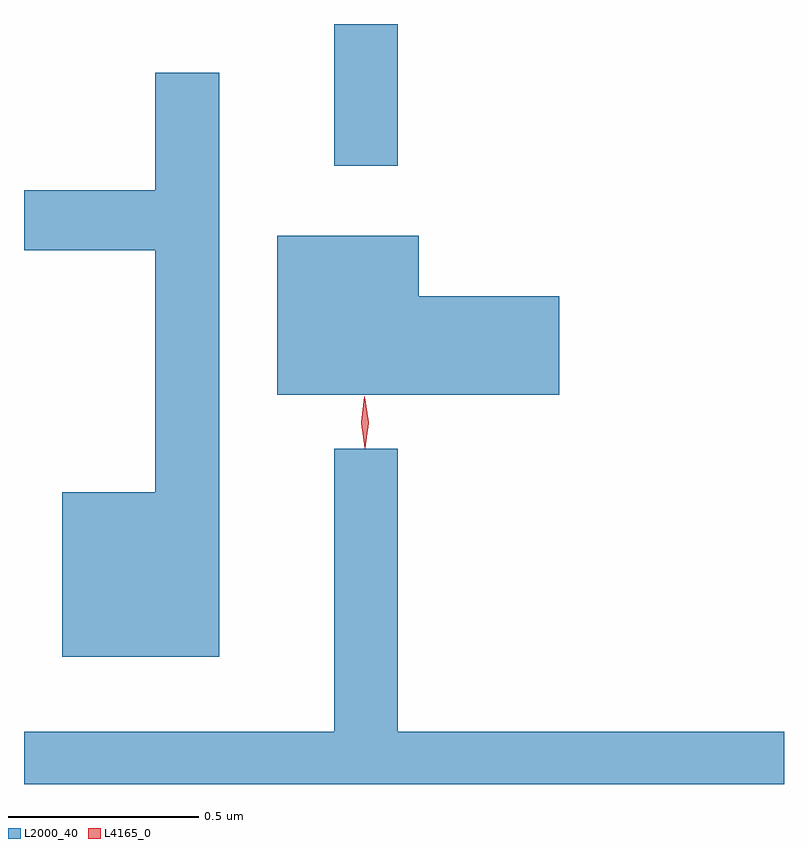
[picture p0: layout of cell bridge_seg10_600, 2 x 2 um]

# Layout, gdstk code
import gdstk
lib = gdstk.Library(unit=1e-6, precision=1e-09)
def R(c, l, rs):  # rectangles x0, y0, x1, y1
    for r in rs: c.add(gdstk.rectangle(r[:2], r[2:], *l))
def P(c, l, *ps):  # polygons
    for p in ps: c.add(gdstk.Polygon(p, *l))
L2000_40 = (2000, 40)
L4165_0 = (4165, 0)

bridge_seg10_600 = lib.new_cell('bridge_seg10_600')
R(bridge_seg10_600, L2000_40, [(819.851,2164.513,820.019,2164.886)])
P(bridge_seg10_600, L2000_40, [(819.549,2164.758),(819.381,2164.758),(819.381,2164.449),(819.035,2164.449),(819.035,2164.291),(819.381,2164.291),(819.381,2163.654),(819.136,2163.654),(819.136,2163.221),(819.549,2163.221)],
  [(820.444,2164.169),(820.074,2164.169),(820.074,2164.329),(819.701,2164.329),(819.701,2163.911),(820.444,2163.911)],
  [(821.035,2163.024),(820.019,2163.024),(820.019,2163.768),(819.851,2163.768),(819.851,2163.024),(819.035,2163.024),(819.035,2162.886),(821.035,2162.886)])
P(bridge_seg10_600, L4165_0, [(819.932,2163.77),(819.922,2163.838),(819.931,2163.905),(819.932,2163.906),(819.932,2163.905),(819.942,2163.838),(819.933,2163.77),(819.933,2163.77)],
  [(819.933,2163.773),(819.932,2163.774),(819.922,2163.836),(819.932,2163.899),(819.932,2163.9),(819.933,2163.899),(819.942,2163.836),(819.933,2163.774)])

lib.write_gds('bridge_seg10_600.gds')
